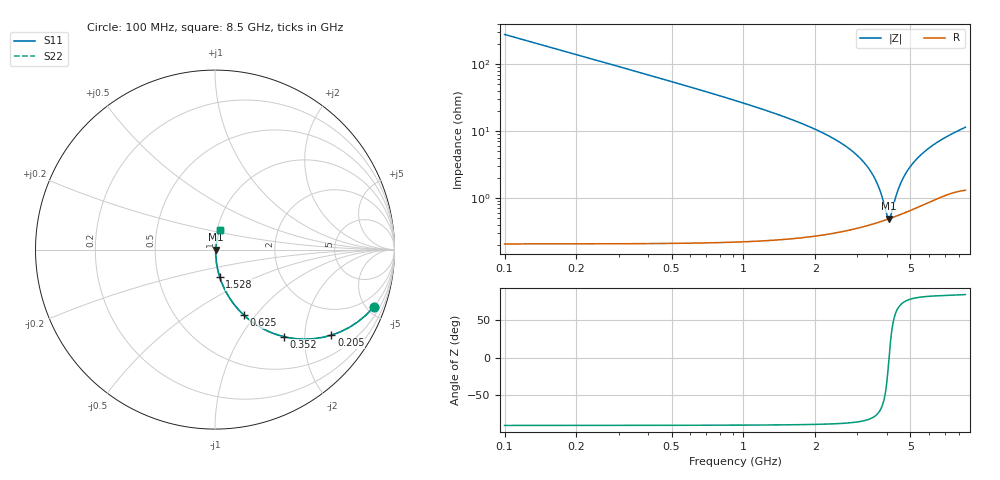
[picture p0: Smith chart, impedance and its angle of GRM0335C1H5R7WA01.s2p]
!Murata Part Number: GRM0335C1H5R7WA01
!These Parameters are Measured in Series Mode Connection
!Data Generated on Mar 30, 2021
!  o--ll--o
!Port1  Port2
!  o------o
!Operation Temp=25[degC], DC Bias Voltage=0[V]
!Freq. Start=100[MHz] Stop=9[GHz] 401[Steps]
# Hz S RI R 50
!Freq.(Hz) S11(Real) S11(Imag) S21(Real) S21(Imag) S12(Real) S12(Imag) S22(Real) S22(Imag)
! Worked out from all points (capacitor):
!   401 points, 100 MHz to 8.5 GHz, reference 50 ohm
!   read as one part in series: C = 5.7 pF near 142 MHz
!   lowest |Z| = 487 mohm at 4.069 GHz (marker M1)
!   series resonance near 4.073 GHz, so ESL is about 270 pH
!   S11 on the Smith chart (normalised r, x): 100 MHz: 1.00, -5.58; 205 MHz: 1.00, -2.72; 352 MHz: 1.00, -1.57; 625 MHz: 1.00, -0.87; 1.528 GHz: 1.00, -0.31; 8.5 GHz: 1.03, +0.23
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1e8  0.886 -0.3174  0.114 0.3174  0.114 0.3174  0.886 -0.3174
2.05e8  0.6484 -0.4767  0.3516 0.4767  0.3516 0.4767  0.6484 -0.4767
3.52e8  0.383 -0.4848  0.617 0.4848  0.617 0.4848  0.383 -0.4848
4.78e8  0.25 -0.4312  0.75 0.4312  0.75 0.4312  0.25 -0.4312
6.25e8  0.1612 -0.3653  0.8388 0.3653  0.8388 0.3653  0.1612 -0.3653
9.61e8  0.0719 -0.2543  0.9281 0.2543  0.9281 0.2543  0.0719 -0.2543
1.507e9  0.0273 -0.1555  0.9727 0.1555  0.9727 0.1555  0.0273 -0.1555
1.528e9  0.0264 -0.1528  0.9736 0.1528  0.9736 0.1528  0.0264 -0.1528
2.914e9  0.00561 -0.0467  0.9944 0.0467  0.9944 0.0467  0.00561 -0.0467
3.271e9  0.00472 -0.0303  0.9953 0.0303  0.9953 0.0303  0.00472 -0.0303
3.544e9  0.00449 -0.0192  0.9955 0.0192  0.9955 0.0192  0.00449 -0.0192
3.754e9  0.00453 -0.0112  0.9955 0.0112  0.9955 0.0112  0.00453 -0.0112
4.006e9  0.00476 -0.00228  0.9952 0.00228  0.9952 0.00228  0.00476 -0.00228
4.069e9  0.00485 -0.00013  0.9952 0.00013  0.9952 0.00013  0.00485 -0.00013
4.132e9  0.00495 0.00198  0.9951 -0.00198  0.9951 -0.00198  0.00495 0.00198
4.3e9  0.00526 0.00747  0.9947 -0.00747  0.9947 -0.00747  0.00526 0.00747
4.531e9  0.00581 0.0147  0.9942 -0.0147  0.9942 -0.0147  0.00581 0.0147
4.825e9  0.00667 0.0234  0.9933 -0.0234  0.9933 -0.0234  0.00667 0.0234
5.203e9  0.00801 0.034  0.992 -0.034  0.992 -0.034  0.00801 0.034
5.707e9  0.0102 0.0472  0.9898 -0.0472  0.9898 -0.0472  0.0102 0.0472
7.114e9  0.0175 0.0799  0.9825 -0.0799  0.9825 -0.0799  0.0175 0.0799
8.5e9  0.0251 0.1091  0.9749 -0.1091  0.9749 -0.1091  0.0251 0.1091
